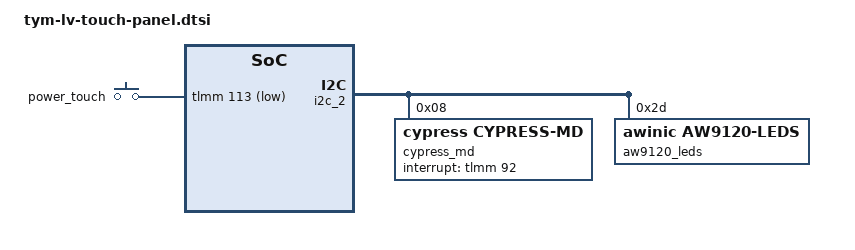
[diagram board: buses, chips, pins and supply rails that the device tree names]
&tlmm{
	pinctrl-names = "default";
	pinctrl-0 = <&cypress_gpio_input &touch_panel_gpio_high>;
	cypress_gpio_input: cypress_gpio_input {
		mux{
			pins ="gpio92";//cat_int_n
			function = "gpio";
		};
		
		config {
			pins = "gpio92";
			drive-strength = <6>;
			bias-disable;
			input-enable;
		};
	};

	touch_panel_gpio_high: touch_panel_gpio_high {
		mux{
			pins =	"gpio95",//oe1
				"gpio94";//dp_stb
			function = "gpio"; 
		};
		
		config {
			pins = "gpio95", "gpio94";
			drive-strength = <12>; 
			bias-pull-up;
			output-high;
		};		
	};	

	aw9120_gpio_high: aw9120_gpio_high {
		mux{
			pins = "gpio91";//aw9120_en
			function = "gpio"; 
		};
		
		config {
			pins = "gpio91";
			drive-strength = <12>; 
			bias-pull-up;
			output-high;
		};		
	};	

        aw9120_gpio_low: aw9120_gpio_low {
                mux{
                        pins = "gpio91";//aw9120_en
                        function = "gpio";
                };

                config {
                        pins = "gpio91";
                        drive-strength = <12>;
                        bias-pull-down;
                        output-low;
                };
        };

        cypress_reset_gpio_high: cypress_reset_gpio_high {
                mux{
                        pins = "gpio90";//cat_ret_n
                        function = "gpio";
                };

                config {
                        pins = "gpio90";
                        drive-strength = <12>;
                        bias-pull-up;
                        output-high;
                };
        };

        cypress_reset_gpio_low: cypress_reset_gpio_low {
                mux{
                        pins = "gpio90";//cat_ret_n
                        function = "gpio";
                };

                config {
                        pins = "gpio90";
                        drive-strength = <12>;
                        bias-pull-down;
                        output-low;
                };
        };

        power_cypress_gpio_input: power_cypress_gpio_input {
                mux{
                        pins ="gpio113";
                        function = "gpio";
                };

                config {
                        pins = "gpio113";
                        drive-strength = <6>;
                        bias-disable;
                        input-enable;
                };
        };

};


&soc {

        gpio_keys: gpio_keys {
                compatible = "gpio-keys";
                label = "gpio-keys";
                input-name = "gpio-keys";
                pinctrl-names = "default";
                status = "ok";
                pinctrl-0 = <&power_cypress_gpio_input>;

                power_touch {
                        label = "power_touch";
                        gpios = <&tlmm 113 GPIO_ACTIVE_LOW>;
                        linux,input-type = <1>;
                        linux,code = <KEY_POWER>;
                        debounce-interval = <15>;
                        gpio-key,wakeup;
                        linux,can-disable;
                };

        };

};

&i2c_2 {
        status = "ok";
        qcom,clk-freq-out = <400000>;

        cypress_md:cypress_md@08 {
                compatible = "cypress,cypress-md";
                #address-cells = <1>;
                #size-cells = <0>;
                reg = <0x08>;
                status = "ok";
                //pinctrl-names = "default";
                interrupt-gpios = <&tlmm 92 GPIO_ACTIVE_HIGH>;
                //reset-gpios = <&tlmm 90 GPIO_ACTIVE_HIGH>;
                wakeup-source;
                pinctrl-names = "cypress-enabled", "cypress-disabled";
                pinctrl-0 = <&cypress_reset_gpio_low>;
                pinctrl-1 = <&cypress_reset_gpio_high>;

		mic_mute: mic_mute{
                        label = "mic_mute";
                        linux,code = <KEY_MICMUTE>;
                };

                pair: pair{
                        label = "pair";
                        linux,code = <KEY_CONNECT>;
                };

                multyfunction: multyfunction{
                        label = "multyfunction";
                        linux,code = <KEY_MEDIA>;
                };
	};

	aw9120_leds:aw9120_leds@2d {
		compatible = "awinic,aw9120-leds";
		#address-cells = <1>;
		#size-cells = <0>;
		reg = <0x2d>;
//		pinctrl-names = "default";
		status = "ok";
		pinctrl-names = "aw9120-enabled", "aw9120-disabled";
		pinctrl-0 = <&aw9120_gpio_high>;
		pinctrl-1 = <&aw9120_gpio_low>;
		
                //mute
                out15@15 {
                        label   = "mute_g";
                        channel = <0x0E>;
                        mc      = <0x5>;//17.5mA
                };
                out16@16 {
                        label   = "mute_r";
                        channel = <0x0F>;
                        mc      = <0x5>;//17.5mA
                };
                out5@5 {
                        label   = "mute_b";
                        channel = <0x04>;
                        mc      = <0x5>;//17.5mA
                };

                //pair
                out2@2 {
                        label   = "pair_g";
                        channel = <0x1>;
                        mc      = <0x4>;
                };
                out3@3 {
                        label   = "pair_r";
                        channel = <0x2>;
                        mc      = <0x4>;
                };
                out4@4 {
                        label   = "pair_b";
                        channel = <0x3>;
                        mc      = <0x4>;
                };

                //mufunction
                out1@1 {
                        label   = "mufunction_g";
                        channel = <0x0>;
                        mc      = <0x4>;
                };
                out14@14 {
                        label   = "mufunction_r";
                        channel = <0x0D>;
                        mc      = <0x4>;
                };
                out13@13 {
                        label   = "mufunction_b";
                        channel = <0x0C>;
                        mc      = <0x4>;
                };

                //cx
                out12@12 {
                        label   = "cx_g";
                        channel = <0x0B>;
                        mc      = <0x4>;
                };
                out11@11 {
                        label   = "cx_r";
                        channel = <0x0A>;
                        mc      = <0x4>;
                };
                out10@10 {
                        label   = "cx_b";
                        channel = <0x9>;
                        mc      = <0x4>;
                };
        };
};




